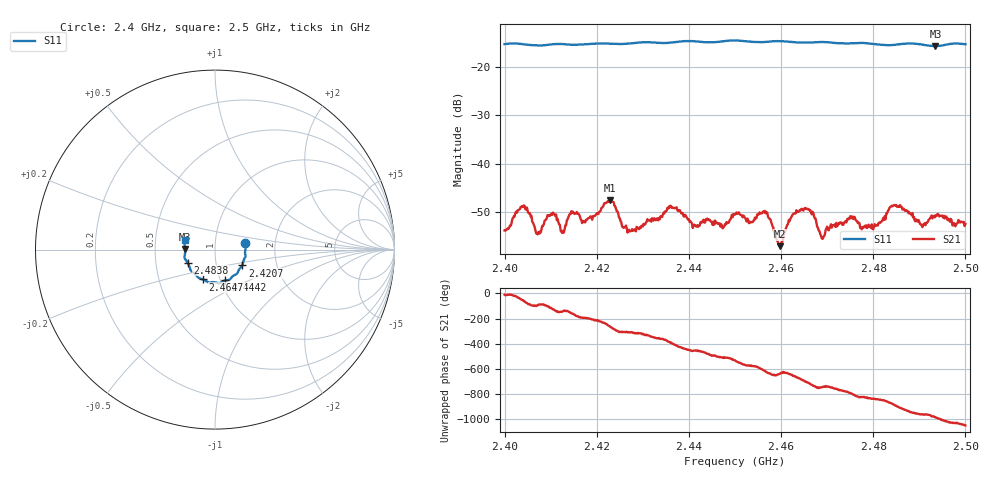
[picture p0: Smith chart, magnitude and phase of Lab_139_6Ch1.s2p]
# Hz S RI R 50
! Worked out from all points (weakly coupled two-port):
!   601 points, 2.4 GHz to 2.5 GHz, reference 50 ohm
!   highest |S21| = -47.61 dB at 2.4228 GHz (marker M1); lowest = -57.1 dB at 2.4597 GHz (marker M2)
!   lowest |S11| = -15.6 dB at 2.4935 GHz (marker M3), VSWR 1.40, Z = 35.8 + j0.141 ohm
!   |S11| at or under -10 dB: start of sweep to end of sweep
!   S12 and S22 are empty: the file has one direction only
!   S11 on the Smith chart (normalised r, x): 2.4 GHz: 1.40, +0.11; 2.4207 GHz: 1.33, -0.24; 2.4442 GHz: 1.05, -0.37; 2.4647 GHz: 0.83, -0.29; 2.4838 GHz: 0.73, -0.11; 2.5 GHz: 0.71, +0.08
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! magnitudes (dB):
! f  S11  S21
! 2.4 GHz  -15.2  -53.8
! 2.4038 GHz  -15.2  -48.8
! 2.4073 GHz  -15.5  -54.2
! 2.4102 GHz  -15.3  -50.3
! 2.4125 GHz  -15.2  -54.3
! 2.4145 GHz  -15.4  -49.9
! 2.4167 GHz  -15.3  -51.7
! 2.4207 GHz  -15.1  -49.9
! 2.4228 GHz  -15.1  -47.6
! 2.427 GHz  -15.1  -53.7
! 2.4333 GHz  -15.0  -51.8
! 2.4442 GHz  -14.9  -51.7
! 2.45 GHz  -14.5  -50.5
! 2.4565 GHz  -14.8  -49.8
! 2.4597 GHz  -14.6  -57.1
! 2.4647 GHz  -14.9  -49.5
! 2.4667 GHz  -14.9  -50.5
! 2.469 GHz  -14.8  -55.6
! 2.4833 GHz  -15.5  -49.6
! 2.4838 GHz  -15.4  -48.9
! 2.4935 GHz  -15.6  -50.7
! 2.5 GHz  -15.3  -52.5
